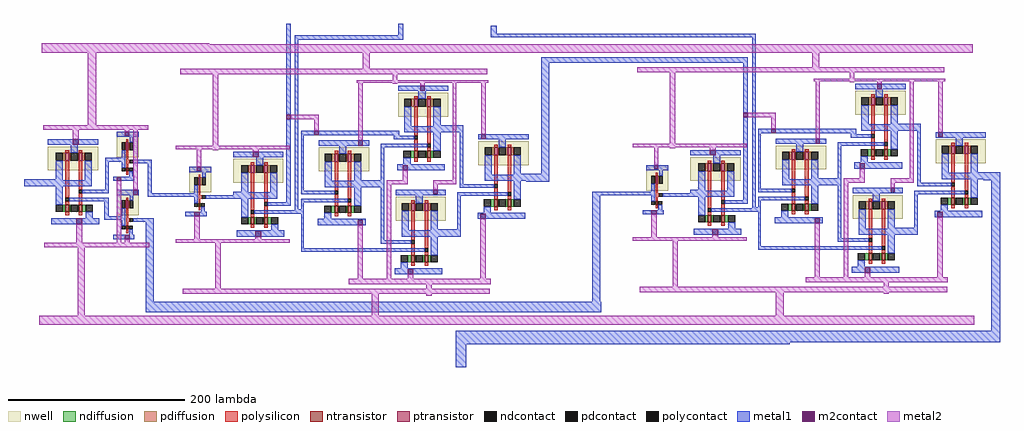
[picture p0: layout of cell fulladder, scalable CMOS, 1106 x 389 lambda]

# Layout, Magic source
magic
tech scmos
<< metal1 >>
rect 129 259 134 308
rect 256 295 262 308
rect 139 290 262 295
rect 361 297 368 306
rect 361 293 661 297
rect 139 259 143 290
rect 418 264 652 270
rect 657 264 661 293
rect -168 124 -147 132
rect -28 116 -23 154
rect 418 138 427 264
rect 411 129 427 138
rect 927 131 938 140
rect -28 112 2 116
rect 476 114 519 118
rect -30 -7 -21 88
rect 476 -7 485 114
rect -30 -19 486 -7
rect 928 -40 938 131
rect 321 -53 938 -40
rect 321 -55 700 -53
rect 321 -81 333 -55
<< metal2 >>
rect -148 285 42 286
rect -148 275 907 285
rect -96 189 -86 275
rect 216 251 224 275
rect 725 254 733 275
rect -107 -23 -99 57
rect 226 -23 234 4
rect 684 -23 693 8
rect -151 -33 909 -23
use or  or_0
transform -1 0 -34 0 1 130
box -9 -75 115 63
use halfadder  halfadder_0
transform 1 0 174 0 1 5
box -174 -5 241 260
use halfadder  halfadder_1
transform 1 0 692 0 1 7
box -174 -5 241 260
<< end >>

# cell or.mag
magic
tech scmos
<< metal1 >>
rect -9 20 1 24
rect 38 -10 42 26
rect 104 -6 115 2
rect 38 -14 52 -10
rect 38 -23 50 -19
rect -9 -46 1 -42
rect 38 -44 43 -23
<< m2contact >>
rect 15 51 20 56
rect 72 41 79 47
rect 24 0 29 5
rect 5 -16 10 -10
rect 68 -49 75 -42
rect 14 -66 20 -61
<< metal2 >>
rect -7 58 112 63
rect 5 -10 10 58
rect 15 56 20 58
rect 72 47 79 58
rect 14 -70 20 -66
rect 24 -70 29 0
rect 68 -70 75 -49
rect -8 -75 111 -70
use inverter  inverter_0
transform 1 0 4 0 1 27
box -4 -27 36 29
use inverter  inverter_1
transform 1 0 4 0 1 -39
box -4 -27 36 29
use nand  nand_0
transform 1 0 77 0 1 15
box -28 -64 30 32
<< end >>

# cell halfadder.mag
magic
tech scmos
<< metal1 >>
rect -45 200 -40 260
rect -45 97 -40 195
rect -35 93 -31 260
rect -35 92 -25 93
rect -41 88 -25 92
<< m2contact >>
rect -45 195 -40 200
rect -13 177 -8 182
<< metal2 >>
rect -165 246 183 252
rect -128 160 -122 246
rect 76 235 81 246
rect -40 195 -8 200
rect -13 182 -8 195
rect -125 3 -119 59
rect 114 3 120 14
rect -162 -3 186 3
rect 114 -5 120 -3
use and  and_0
transform -1 0 -44 0 1 47
box -3 8 130 118
use xor  xor_0
transform 1 0 -6 0 1 60
box -22 -52 247 179
<< end >>

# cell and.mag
magic
tech scmos
<< metal1 >>
rect 59 58 86 62
rect 120 60 130 64
rect -3 50 7 54
rect -3 41 7 45
<< m2contact >>
rect 32 105 39 111
rect 97 89 102 94
rect 99 38 105 43
rect 29 15 36 21
<< metal2 >>
rect -3 114 126 118
rect 32 111 39 114
rect 97 94 102 114
rect 29 12 36 15
rect 99 12 105 38
rect -3 8 126 12
use nand  nand_0
transform 1 0 31 0 1 79
box -28 -64 30 32
use inverter  inverter_0
transform 1 0 86 0 1 65
box -4 -27 36 29
<< end >>

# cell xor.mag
magic
tech scmos
<< metal1 >>
rect -22 117 89 122
rect 144 120 162 128
rect -22 54 -19 117
rect 83 112 89 117
rect 68 103 90 107
rect 68 66 72 103
rect 51 58 72 66
rect -22 50 15 54
rect -22 41 -1 45
rect -22 -11 -19 41
rect 68 -2 72 58
rect 158 61 162 120
rect 233 64 247 73
rect 158 57 180 61
rect 155 48 178 52
rect 155 10 159 48
rect 140 2 159 10
rect 68 -6 84 -2
rect -22 -15 85 -11
<< m2contact >>
rect 113 167 118 173
rect 43 105 48 111
rect 93 77 99 83
rect 42 15 48 21
rect 182 113 187 118
rect 128 50 133 55
rect 181 22 187 28
rect 99 -41 105 -35
<< metal2 >>
rect 41 176 190 179
rect 43 111 48 176
rect 113 173 118 176
rect 93 66 99 77
rect 150 66 154 176
rect 182 118 187 176
rect 75 61 99 66
rect 128 61 154 66
rect 42 -46 48 15
rect 75 -46 80 61
rect 128 55 133 61
rect 99 -46 105 -41
rect 181 -46 187 22
rect 32 -52 193 -46
use nand  nand_0
transform 1 0 25 0 1 79
box -28 -64 30 32
use nand  nand_1
transform 1 0 115 0 1 141
box -28 -64 30 32
use nand  nand_2
transform 1 0 112 0 1 23
box -28 -64 30 32
use nand  nand_3
transform 1 0 206 0 1 86
box -28 -64 30 32
<< end >>

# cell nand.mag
magic
tech scmos
<< nwell >>
rect -27 -3 30 24
<< ntransistor >>
rect -9 -50 -5 -42
rect 6 -50 10 -42
<< ptransistor >>
rect -9 8 -5 17
rect 6 8 10 17
<< ndiffusion >>
rect -13 -50 -9 -42
rect -5 -50 -4 -42
rect 4 -50 6 -42
rect 10 -50 13 -42
<< pdiffusion >>
rect -12 8 -9 17
rect -5 8 -4 17
rect 4 8 6 17
rect 10 8 13 17
<< ndcontact >>
rect -21 -50 -13 -42
rect -4 -50 4 -42
rect 13 -50 21 -42
<< pdcontact >>
rect -20 8 -12 17
rect -4 8 4 17
rect 13 8 21 17
<< polysilicon >>
rect -9 17 -5 20
rect 6 17 10 20
rect -9 -25 -5 8
rect -9 -42 -5 -29
rect 6 -34 10 8
rect 6 -42 10 -38
rect -9 -54 -5 -50
rect 6 -54 10 -50
<< polycontact >>
rect -9 -29 -5 -25
rect 6 -38 10 -34
<< metal1 >>
rect -27 26 30 32
rect -4 17 4 26
rect -20 -14 -12 8
rect 13 -13 21 8
rect 13 -14 30 -13
rect -20 -21 30 -14
rect -28 -29 -9 -25
rect -28 -38 6 -34
rect 13 -42 21 -21
rect -21 -57 -13 -50
rect -28 -64 26 -57
<< end >>

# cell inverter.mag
magic
tech scmos
<< nwell >>
rect 0 0 25 29
<< ntransistor >>
rect 12 -16 14 -12
<< ptransistor >>
rect 12 8 14 17
<< ndiffusion >>
rect 11 -16 12 -12
rect 14 -16 15 -12
<< pdiffusion >>
rect 10 8 12 17
rect 14 8 15 17
<< ndcontact >>
rect 7 -16 11 -12
rect 15 -16 19 -12
<< pdcontact >>
rect 6 8 10 17
rect 15 8 19 17
<< polysilicon >>
rect 12 17 14 20
rect 12 -3 14 8
rect 10 -7 14 -3
rect 12 -12 14 -7
rect 12 -20 14 -16
<< polycontact >>
rect 6 -7 10 -3
<< metal1 >>
rect 0 23 25 29
rect 6 17 10 23
rect 15 -1 19 8
rect -4 -7 6 -3
rect 15 -5 36 -1
rect 15 -12 19 -5
rect 7 -22 11 -16
rect 5 -27 29 -22
<< end >>
